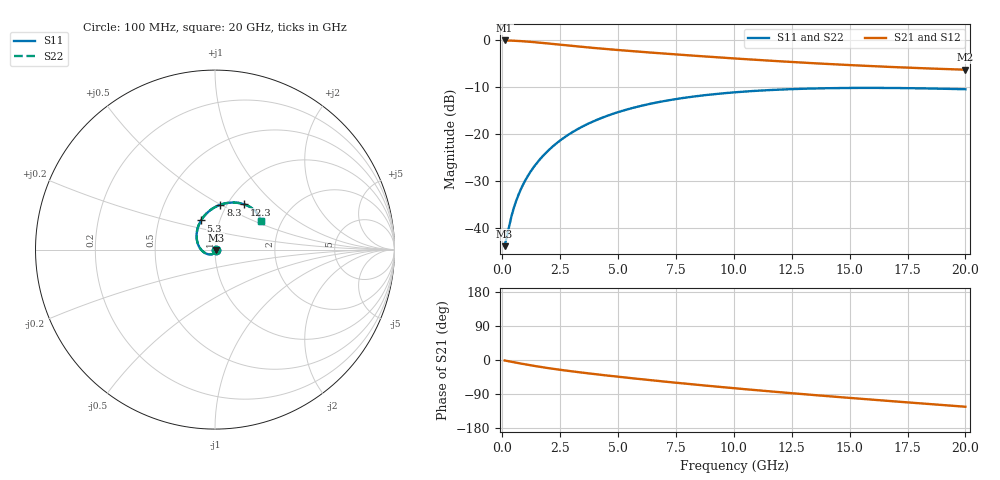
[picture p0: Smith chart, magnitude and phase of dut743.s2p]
! Touchstone file exported from HFSS 2024.1.0
!  File:  C:/UserFiles/LocalFiles/RDL_TSV_Batchsim/temp_RDL_TSV_743_1779895915.aedt
!  Generated:  11:49:57 PM May 27, 2026
!  Design:  RDL_TSV
!  Project:  temp_RDL_TSV_743_1779895915
!  Setup:  Setup1
!  Solution:  Sweep
! Variables:
!  dtsv = 7.92um
!  hbump = 3um
!  htsv = 94.45um
!  ldown = 191.82um
!  lrdl = 197.97um
!  p = 40
!  p1 = 52.42um
!  rhole = 10um
!  subl = 1367.34um
!  t = 450um
!  tdown = 4.56um
!  trdl = 4.53um
!  viad = 10um
!  wdown = 28.88um
!  wrdl = 25.08um
!  xbump = 18um
# GHz S MA R 50.000000
! Terminal data exported
! Port[1] = TM1_1_T1
! Port[2] = TM1_4_T1
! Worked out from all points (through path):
!   200 points, 100 MHz to 20 GHz, reference 50 ohm
!   highest |S21| = -0.05 dB at 100 MHz (marker M1); lowest = -6.3 dB at 20 GHz (marker M2)
!   group delay of S21, straight-line fit = 16.1 ps
!   lowest |S11| = -43.9 dB at 100 MHz (marker M3), VSWR 1.01, Z = 50.6 - j0.327 ohm
!   |S11| at or under -10 dB: start of sweep to end of sweep
!   |S22| runs from -43.9 to -10.1 dB; largest |S21 - S12| = 6.9e-13
!   S11 on the Smith chart (normalised r, x): 100 MHz: 1.01, -0.01; 5.3 GHz: 0.81, +0.27; 8.3 GHz: 0.93, +0.50; 12.3 GHz: 1.19, +0.66; 20 GHz: 1.57, +0.55
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0.1  0.006377 -30.5  0.994 -1.2  0.994 -1.2  0.006377 -30.5
! Gamma 0 0 0 0
! Port Impedance 50 0 50 0
0.3  0.01064 -69.4  0.9915 -3.6  0.9915 -3.6  0.01066 -69.4
0.4  0.0134 -81.5  0.9896 -4.8  0.9896 -4.8  0.01342 -81.5
0.5  0.01634 -91.3  0.9873 -6.0  0.9873 -6.0  0.01636 -91.2
0.6  0.0194 -99.6  0.9846 -7.1  0.9846 -7.1  0.01941 -99.6
0.7  0.02253 -106.9  0.9815 -8.3  0.9815 -8.3  0.02255 -106.9
0.9  0.02898 -119.7  0.9744 -10.5  0.9744 -10.5  0.02899 -119.8
1.2  0.039 -136.1  0.9617 -13.7  0.9617 -13.7  0.03902 -136.1
1.4  0.04588 -145.7  0.9522 -15.8  0.9522 -15.8  0.04591 -145.7
1.7  0.05644 -158.6  0.937 -18.7  0.937 -18.7  0.05649 -158.7
2.2  0.0745 -177.1  0.9106 -23.3  0.9106 -23.3  0.07459 -177.2
2.8  0.09639 164.6  0.8797 -28.3  0.8797 -28.3  0.09654 164.5
3.5  0.1215 147.3  0.8465 -33.7  0.8465 -33.7  0.1217 147.2
4.3  0.1488 131.4  0.8126 -39.4  0.8126 -39.4  0.1491 131.3
5.3  0.1801 115.5  0.7753 -46.2  0.7753 -46.2  0.1805 115.5
6.8  0.2201 97.2  0.7263 -55.7  0.7263 -55.7  0.2207 97.2
8.3  0.2516 83.1  0.6831 -64.7  0.6831 -64.7  0.2524 83.1
10.1  0.2791 69.8  0.6373 -74.9  0.6373 -74.9  0.28 69.8
12.3  0.2997 57.2  0.5898 -86.6  0.5898 -86.6  0.3007 57.2
13.4  0.3056 52.0  0.5693 -92.2  0.5693 -92.2  0.3066 52.0
16.7  0.3098 39.9  0.5196 -108.1  0.5196 -108.1  0.3108 39.9
20  0.3 31.9  0.4848 -123.3  0.4848 -123.3  0.3011 32.0
